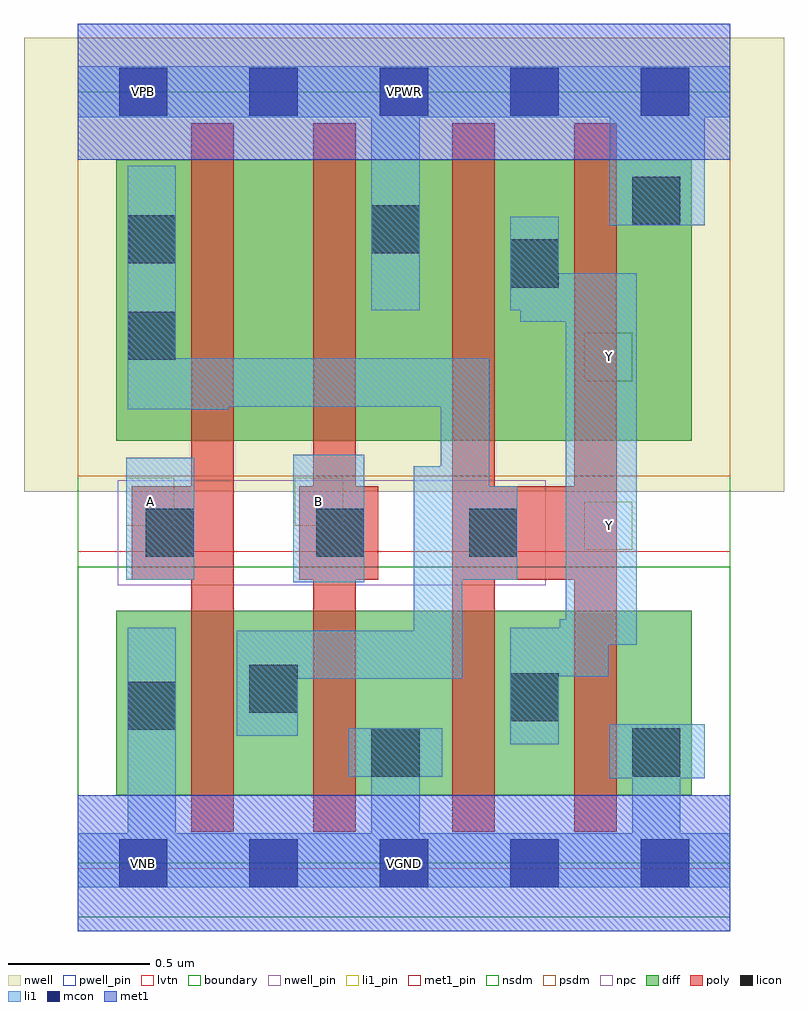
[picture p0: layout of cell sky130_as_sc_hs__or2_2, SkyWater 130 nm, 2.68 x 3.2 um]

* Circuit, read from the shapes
.subckt sky130_as_sc_hs__or2_2 A B VGND VNB VPB VPWR Y
XM1 n1 A VGND VNB sky130_fd_pr__nfet_01v8_lvt w=0.65 l=0.15
XM2 VGND B n1 VNB sky130_fd_pr__nfet_01v8_lvt w=0.65 l=0.15
XM3 Y n1 VGND VNB sky130_fd_pr__nfet_01v8_lvt w=0.65 l=0.15 m=2
XM4 n2 A n1 VPB sky130_fd_pr__pfet_01v8 w=0.99 l=0.15
XM5 VPWR B n2 VPB sky130_fd_pr__pfet_01v8 w=0.99 l=0.15
XM6 Y n1 VPWR VPB sky130_fd_pr__pfet_01v8 w=0.99 l=0.15 m=2
.ends

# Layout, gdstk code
import gdstk
lib = gdstk.Library(unit=1e-6, precision=1e-09)
def R(c, l, rs):  # rectangles x0, y0, x1, y1
    for r in rs: c.add(gdstk.rectangle(r[:2], r[2:], *l))
def A(c, l, x, y, w, h, nx, ny, dx, dy):  # array of equal rectangles
    R(c, l, [(x+i*dx, y+j*dy, x+i*dx+w, y+j*dy+h) for i in range(nx) for j in range(ny)])
nwell_pin = (64, 16)
nwell = (64, 20)
diff = (65, 20)
poly = (66, 20)
licon = (66, 44)
li1_pin = (67, 16)
li1 = (67, 20)
mcon = (67, 44)
met1_pin = (68, 16)
met1 = (68, 20)
nsdm = (93, 44)
psdm = (94, 20)
npc = (95, 20)
pwell_pin = (122, 16)
lvtn = (125, 44)
boundary = (235, 4)

sky130_as_sc_hs__or2_2 = lib.new_cell('sky130_as_sc_hs__or2_2')
R(sky130_as_sc_hs__or2_2, nwell_pin, [(0.145,2.635,0.315,2.805)])
R(sky130_as_sc_hs__or2_2, nwell, [(-0.19,1.31,2.49,2.91)])
R(sky130_as_sc_hs__or2_2, diff, [(0.135,0.24,2.165,0.89), (0.135,1.49,2.165,2.48)])
R(sky130_as_sc_hs__or2_2, poly, [(0.4,0.11,0.55,1), (0.83,0.11,0.98,1), (1.32,0.11,1.47,1), (1.75,0.11,1.9,1), (0.19,1,0.55,1.33), (0.78,1,1.06,1.33), (1.32,1,1.9,1.33), (0.4,1.33,0.55,2.61), (0.83,1.33,0.98,2.61), (1.32,1.33,1.47,2.61), (1.75,1.33,1.9,2.61)])
R(sky130_as_sc_hs__or2_2, licon, [(1.035,0.305,1.205,0.475), (1.955,0.305,2.125,0.475), (0.175,0.47,0.345,0.64), (1.525,0.5,1.695,0.67), (0.605,0.53,0.775,0.7), (0.24,1.08,0.41,1.25), (0.84,1.08,1.01,1.25), (1.38,1.08,1.55,1.25), (0.175,1.775,0.345,1.945), (1.525,2.03,1.695,2.2), (0.175,2.115,0.345,2.285), (1.035,2.15,1.205,2.32), (1.955,2.25,2.125,2.42)])
R(sky130_as_sc_hs__or2_2, li1_pin, [(1.785,1.105,1.955,1.275), (0.17,1.19,0.34,1.36), (0.765,1.19,0.935,1.36), (1.785,1.7,1.955,1.87)])
R(sky130_as_sc_hs__or2_2, li1, [(0,-0.085,2.3,0.105), (0.175,0.105,0.345,0.83), (1.035,0.105,1.205,0.305), (1.955,0.105,2.125,0.3), (1.875,0.3,2.21,0.49), (0.955,0.305,1.285,0.475), (1.525,0.42,1.695,0.66), (0.56,0.45,0.775,0.65), (0.56,0.65,1.355,0.82), (1.525,0.66,1.87,0.77), (1.525,0.77,1.97,0.83), (1.185,0.82,1.355,1), (1.7,0.83,1.97,0.86), (1.72,0.86,1.97,1.91), (0.76,0.99,1.01,1.44), (0.17,1,0.41,1.43), (1.185,1,1.55,1.33), (1.185,1.33,1.45,1.4), (1.28,1.4,1.45,1.61), (0.175,1.6,0.53,1.61), (0.175,1.61,1.45,1.78), (0.175,1.78,0.345,2.46), (1.56,1.91,1.97,1.95), (1.035,1.95,1.205,2.63), (1.525,1.95,1.97,2.08), (1.525,2.08,1.695,2.28), (1.875,2.25,2.21,2.63), (0,2.63,2.3,2.81)])
A(sky130_as_sc_hs__or2_2, mcon, 0.145, -0.085, 0.17, 0.17, 5, 2, 0.46, 2.72)
R(sky130_as_sc_hs__or2_2, met1_pin, [(0,-0.24,2.3,0.24), (0.145,-0.085,0.315,0.085), (0,2.48,2.3,2.96), (0.145,2.635,0.315,2.805)])
R(sky130_as_sc_hs__or2_2, met1, [(0,-0.24,2.3,0.24), (0,2.48,2.3,2.96)])
R(sky130_as_sc_hs__or2_2, nsdm, [(0,-0.19,2.3,1.045)])
R(sky130_as_sc_hs__or2_2, psdm, [(0,1.365,2.3,2.91)])
R(sky130_as_sc_hs__or2_2, npc, [(0.14,0.98,1.65,1.35)])
R(sky130_as_sc_hs__or2_2, pwell_pin, [(0.145,-0.085,0.315,0.085)])
R(sky130_as_sc_hs__or2_2, lvtn, [(0,-0.02,2.3,1.1)])
R(sky130_as_sc_hs__or2_2, boundary, [(0,0,2.3,2.72)])
sky130_as_sc_hs__or2_2.add(gdstk.Label('VNB', (0.23,0), layer=64, texttype=59))
sky130_as_sc_hs__or2_2.add(gdstk.Label('VPB', (0.23,2.72), layer=64, texttype=5))
sky130_as_sc_hs__or2_2.add(gdstk.Label('A', (0.255,1.275), layer=67, texttype=5))
sky130_as_sc_hs__or2_2.add(gdstk.Label('Y', (1.875,1.19), layer=67, texttype=5))
sky130_as_sc_hs__or2_2.add(gdstk.Label('Y', (1.875,1.785), layer=67, texttype=5))
sky130_as_sc_hs__or2_2.add(gdstk.Label('B', (0.85,1.275), layer=67, texttype=5))
sky130_as_sc_hs__or2_2.add(gdstk.Label('VNB', (0.23,0), layer=64, texttype=59))
sky130_as_sc_hs__or2_2.add(gdstk.Label('VPB', (0.23,2.72), layer=64, texttype=5))
sky130_as_sc_hs__or2_2.add(gdstk.Label('VPWR', (1.15,2.72), layer=68, texttype=5))
sky130_as_sc_hs__or2_2.add(gdstk.Label('VPWR', (0.23,2.72), layer=68, texttype=5))
sky130_as_sc_hs__or2_2.add(gdstk.Label('VGND', (1.15,0), layer=68, texttype=5))
sky130_as_sc_hs__or2_2.add(gdstk.Label('VGND', (0.23,0), layer=68, texttype=5))
sky130_as_sc_hs__or2_2.add(gdstk.Label('A', (0.255,1.275), layer=67, texttype=5))
sky130_as_sc_hs__or2_2.add(gdstk.Label('B', (0.85,1.275), layer=67, texttype=5))
sky130_as_sc_hs__or2_2.add(gdstk.Label('Y', (1.87,1.785), layer=67, texttype=5))
sky130_as_sc_hs__or2_2.add(gdstk.Label('Y', (1.87,1.19), layer=67, texttype=5))

lib.write_gds('sky130_as_sc_hs__or2_2.gds')
